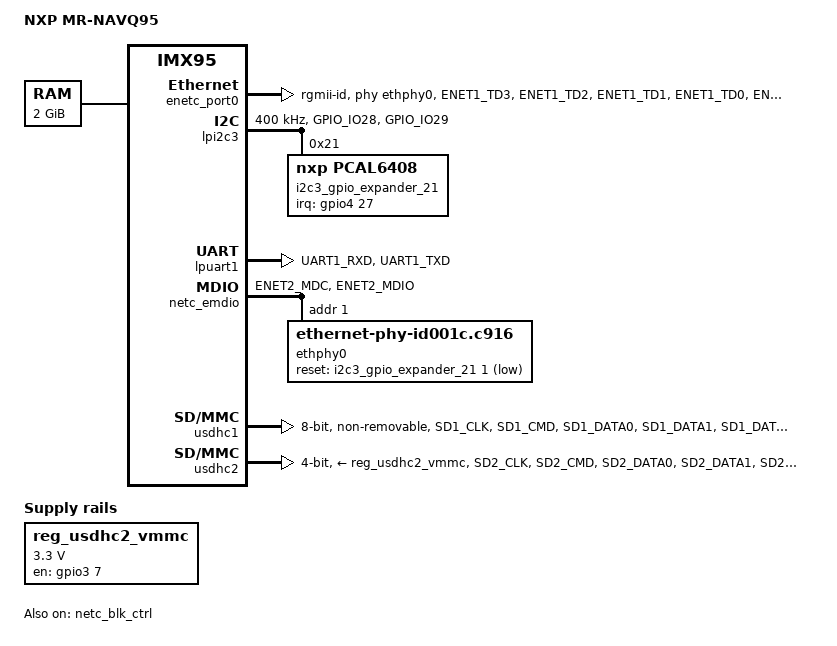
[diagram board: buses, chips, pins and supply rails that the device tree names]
// SPDX-License-Identifier: (GPL-2.0+ OR MIT)
/*
 * Copyright 2026 NXP
 */

/dts-v1/;

#include "imx95.dtsi"

/ {
	model = "NXP MR-NAVQ95";
	compatible = "fsl,imx95-navq", "fsl,imx95";

	aliases {
		ethernet0 = &enetc_port0;
		mmc0 = &usdhc1;
		mmc1 = &usdhc2;
		serial0 = &lpuart1;
	};

	chosen {
		stdout-path = "serial0:115200n8";
	};

	memory@80000000 {
		device_type = "memory";
		/* actual size filled in by the bootloader */
		reg = <0x0 0x80000000 0 0x80000000>;
	};

	reg_usdhc2_vmmc: regulator-usdhc2 {
		compatible = "regulator-fixed";
		bootph-pre-ram;
		enable-active-high;
		gpios = <&gpio3 7 GPIO_ACTIVE_HIGH>;
		off-on-delay-us = <12000>;
		pinctrl-0 = <&pinctrl_reg_usdhc2_vmmc>;
		pinctrl-names = "default";
		regulator-max-microvolt = <3300000>;
		regulator-min-microvolt = <3300000>;
		regulator-name = "VDD_SD2_3V3";
	};
};

&edma1 {
	/* owned by M7 */
	status = "reserved";
};

&edma2 {
	/* channels 30-63 owned by M7 */
	dma-channels = <30>;
};

&enetc_port0 {
	phy-handle = <&ethphy0>;
	phy-mode = "rgmii-id";
	pinctrl-0 = <&pinctrl_enetc0>;
	pinctrl-names = "default";

	status = "okay";
};

&lpi2c3 {
	clock-frequency = <400000>;
	pinctrl-0 = <&pinctrl_lpi2c3>;
	pinctrl-names = "default";

	status = "okay";

	i2c3_gpio_expander_21: gpio-expander@21 {
		compatible = "nxp,pcal6408";
		reg = <0x21>;
		#gpio-cells = <2>;
		gpio-controller;
		#interrupt-cells = <2>;
		interrupt-controller;
		interrupt-parent = <&gpio4>;
		interrupts = <27 IRQ_TYPE_LEVEL_LOW>;
		pinctrl-0 = <&pinctrl_i2c3_gpio_expander_21>;
		pinctrl-names = "default";
	};
};

&lpuart1 {
	bootph-pre-ram;
	pinctrl-0 = <&pinctrl_uart1>;
	pinctrl-names = "default";

	status = "okay";
};

&netc_blk_ctrl {
	status = "okay";
};

&netc_emdio {
	pinctrl-0 = <&pinctrl_emdio>;
	pinctrl-names = "default";

	status = "okay";

	ethphy0: ethernet-phy@1 {
		compatible = "ethernet-phy-id001c.c916";
		reg = <1>;
		reset-assert-us = <10000>;
		reset-deassert-us = <80000>;
		reset-gpios = <&i2c3_gpio_expander_21 1 GPIO_ACTIVE_LOW>;
		realtek,clkout-disable;
	};
};

&scmi_iomuxc {
	pinctrl_emdio: emdiogrp {
		fsl,pins = <IMX95_PAD_ENET2_MDC__NETCMIX_TOP_NETC_MDC			0x57e>,
			   <IMX95_PAD_ENET2_MDIO__NETCMIX_TOP_NETC_MDIO			0x97e>;
	};

	pinctrl_enetc0: enetc0grp {
		fsl,pins = <IMX95_PAD_ENET1_TD3__NETCMIX_TOP_ETH0_RGMII_TD3		0x57e>,
			   <IMX95_PAD_ENET1_TD2__NETCMIX_TOP_ETH0_RGMII_TD2		0x57e>,
			   <IMX95_PAD_ENET1_TD1__NETCMIX_TOP_ETH0_RGMII_TD1		0x57e>,
			   <IMX95_PAD_ENET1_TD0__NETCMIX_TOP_ETH0_RGMII_TD0		0x57e>,
			   <IMX95_PAD_ENET1_TX_CTL__NETCMIX_TOP_ETH0_RGMII_TX_CTL	0x57e>,
			   <IMX95_PAD_ENET1_TXC__NETCMIX_TOP_ETH0_RGMII_TX_CLK		0x58e>,
			   <IMX95_PAD_ENET1_RX_CTL__NETCMIX_TOP_ETH0_RGMII_RX_CTL	0x57e>,
			   <IMX95_PAD_ENET1_RXC__NETCMIX_TOP_ETH0_RGMII_RX_CLK		0x58e>,
			   <IMX95_PAD_ENET1_RD0__NETCMIX_TOP_ETH0_RGMII_RD0		0x57e>,
			   <IMX95_PAD_ENET1_RD1__NETCMIX_TOP_ETH0_RGMII_RD1		0x57e>,
			   <IMX95_PAD_ENET1_RD2__NETCMIX_TOP_ETH0_RGMII_RD2		0x57e>,
			   <IMX95_PAD_ENET1_RD3__NETCMIX_TOP_ETH0_RGMII_RD3		0x57e>;
	};

	pinctrl_i2c3_gpio_expander_21: i2c3gpioexpander21grp {
		fsl,pins = <IMX95_PAD_ENET2_RD3__GPIO4_IO_BIT27				0x31e>;
	};

	pinctrl_lpi2c3: lpi2c3grp {
		fsl,pins = <IMX95_PAD_GPIO_IO28__LPI2C3_SDA				0x40000b9e>,
			   <IMX95_PAD_GPIO_IO29__LPI2C3_SCL				0x40000b9e>;
	};

	pinctrl_reg_usdhc2_vmmc: regusdhc2vmmcgrp {
		bootph-pre-ram;
		fsl,pins = <IMX95_PAD_SD2_RESET_B__GPIO3_IO_BIT7			0x31e>;
	};

	pinctrl_uart1: uart1grp {
		bootph-pre-ram;
		fsl,pins = <IMX95_PAD_UART1_RXD__AONMIX_TOP_LPUART1_RX			0x31e>,
			   <IMX95_PAD_UART1_TXD__AONMIX_TOP_LPUART1_TX			0x31e>;
	};

	pinctrl_usdhc1_200mhz: usdhc1-200mhzgrp {
		bootph-pre-ram;
		fsl,pins = <IMX95_PAD_SD1_CLK__USDHC1_CLK				0x15fe>,
			   <IMX95_PAD_SD1_CMD__USDHC1_CMD				0x13fe>,
			   <IMX95_PAD_SD1_DATA0__USDHC1_DATA0				0x13fe>,
			   <IMX95_PAD_SD1_DATA1__USDHC1_DATA1				0x13fe>,
			   <IMX95_PAD_SD1_DATA2__USDHC1_DATA2				0x13fe>,
			   <IMX95_PAD_SD1_DATA3__USDHC1_DATA3				0x13fe>,
			   <IMX95_PAD_SD1_DATA4__USDHC1_DATA4				0x13fe>,
			   <IMX95_PAD_SD1_DATA5__USDHC1_DATA5				0x13fe>,
			   <IMX95_PAD_SD1_DATA6__USDHC1_DATA6				0x13fe>,
			   <IMX95_PAD_SD1_DATA7__USDHC1_DATA7				0x13fe>,
			   <IMX95_PAD_SD1_STROBE__USDHC1_STROBE				0x15fe>;
	};

	pinctrl_usdhc1: usdhc1grp {
		bootph-pre-ram;
		fsl,pins = <IMX95_PAD_SD1_CLK__USDHC1_CLK				0x158e>,
			   <IMX95_PAD_SD1_CMD__USDHC1_CMD				0x138e>,
			   <IMX95_PAD_SD1_DATA0__USDHC1_DATA0				0x138e>,
			   <IMX95_PAD_SD1_DATA1__USDHC1_DATA1				0x138e>,
			   <IMX95_PAD_SD1_DATA2__USDHC1_DATA2				0x138e>,
			   <IMX95_PAD_SD1_DATA3__USDHC1_DATA3				0x138e>,
			   <IMX95_PAD_SD1_DATA4__USDHC1_DATA4				0x138e>,
			   <IMX95_PAD_SD1_DATA5__USDHC1_DATA5				0x138e>,
			   <IMX95_PAD_SD1_DATA6__USDHC1_DATA6				0x138e>,
			   <IMX95_PAD_SD1_DATA7__USDHC1_DATA7				0x138e>,
			   <IMX95_PAD_SD1_STROBE__USDHC1_STROBE				0x158e>;
	};

	pinctrl_usdhc2_gpio: usdhc2gpiogrp {
		bootph-pre-ram;
		fsl,pins = <IMX95_PAD_SD2_CD_B__GPIO3_IO_BIT0				0x31e>;
	};

	pinctrl_usdhc2: usdhc2grp {
		bootph-pre-ram;
		fsl,pins = <IMX95_PAD_SD2_CLK__USDHC2_CLK				0x158e>,
			   <IMX95_PAD_SD2_CMD__USDHC2_CMD				0x138e>,
			   <IMX95_PAD_SD2_DATA0__USDHC2_DATA0				0x138e>,
			   <IMX95_PAD_SD2_DATA1__USDHC2_DATA1				0x138e>,
			   <IMX95_PAD_SD2_DATA2__USDHC2_DATA2				0x138e>,
			   <IMX95_PAD_SD2_DATA3__USDHC2_DATA3				0x138e>,
			   <IMX95_PAD_SD2_VSELECT__USDHC2_VSELECT			0x51e>;
	};
};

&usdhc1 {
	bootph-pre-ram;
	bus-width = <8>;
	no-sd;
	no-sdio;
	non-removable;
	pinctrl-0 = <&pinctrl_usdhc1>;
	pinctrl-1 = <&pinctrl_usdhc1>;
	pinctrl-2 = <&pinctrl_usdhc1_200mhz>;
	pinctrl-3 = <&pinctrl_usdhc1>;
	pinctrl-names = "default", "state_100mhz", "state_200mhz", "sleep";

	status = "okay";
};

&usdhc2 {
	bootph-pre-ram;
	bus-width = <4>;
	cd-gpios = <&gpio3 0 GPIO_ACTIVE_LOW>;
	pinctrl-0 = <&pinctrl_usdhc2>, <&pinctrl_usdhc2_gpio>;
	pinctrl-1 = <&pinctrl_usdhc2>, <&pinctrl_usdhc2_gpio>;
	pinctrl-2 = <&pinctrl_usdhc2>, <&pinctrl_usdhc2_gpio>;
	pinctrl-3 = <&pinctrl_usdhc2>, <&pinctrl_usdhc2_gpio>;
	pinctrl-names = "default", "state_100mhz", "state_200mhz", "sleep";
	vmmc-supply = <&reg_usdhc2_vmmc>;

	status = "okay";
};
